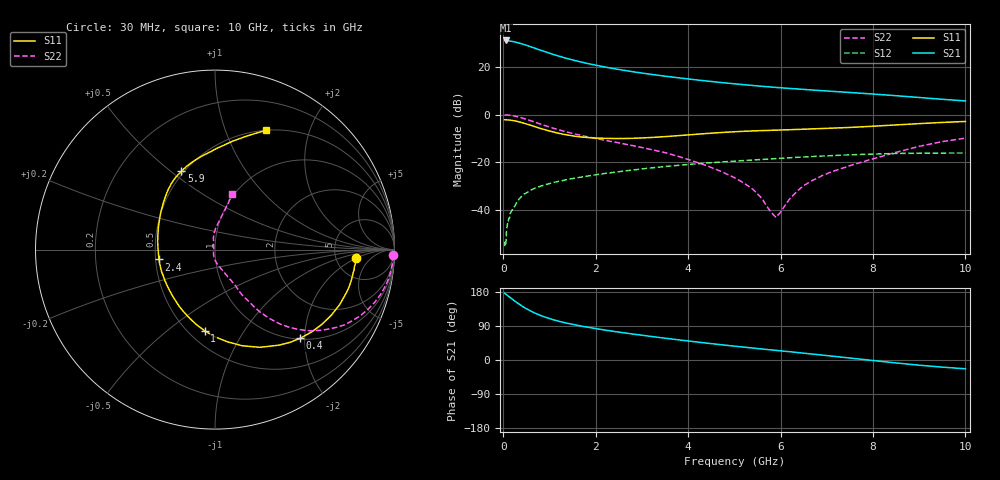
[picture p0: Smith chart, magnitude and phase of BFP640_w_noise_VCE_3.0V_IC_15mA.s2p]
! (c) 2013  Infineon Technologies AG, Munich
! Infineon Technologies  Discrete & RF Semiconductors
! BFP640
! VCE =  3.0 V,  IC =  15 mA
! Common Emitter S-Parameters:  Apr 2013
# GHz  S  MA  R  50
!  f  S11  S21  S12  S22
! GHz  MAG  ANG  MAG  ANG  MAG  ANG  MAG  ANG
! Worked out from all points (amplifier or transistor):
!   99 points, 30 MHz to 10 GHz, reference 50 ohm
!   highest |S21| = 31.3 dB at 50 MHz (marker M1)
!   |S21| within 3 dB of that: start of sweep to 644.9 MHz
!   unconditionally stable (mu >= 1): 3.138 GHz to end of sweep
!   at 350 MHz: K = 0.23, MSG = 32.8 dB, |S12| = -35.4 dB
!   at 3.5 GHz: K = 1.02, MAG = 18.2 dB, |S12| = -21.8 dB
!   at 10 GHz: K = 1.08, MAG = 9.2 dB, |S12| = -16.1 dB
!   lowest NFmin = 0.75 dB at 450 MHz
!   S11 on the Smith chart (normalised r, x): 30 MHz: 7.94, -1.89; 400 MHz: 1.02, -1.90; 1 GHz: 0.60, -0.68; 2.4 GHz: 0.52, -0.06; 5.9 GHz: 0.48, +0.54; 10 GHz: 0.50, +1.40
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0.03  0.7872 -3.3  36.77 176.1  0.0017 88.4  0.9912 -1.8
0.05  0.7854 -5.9  36.91 174.5  0.0018 79.7  0.99 -3.5
0.15  0.7708 -18.0  35.91 164.8  0.0083 83.5  0.9749 -11.1
0.25  0.7437 -29.6  34.3 155.5  0.0119 76.9  0.9381 -18.1
0.3  0.7259 -35.2  33.36 151.1  0.0147 72.9  0.9143 -21.4
0.4  0.6854 -46.1  31.45 142.8  0.0192 70.1  0.8612 -27.4
0.5  0.6413 -56.1  29.27 135.5  0.0224 66.7  0.804 -32.6
0.6  0.5988 -65.4  27.06 128.9  0.0259 63.3  0.7466 -37.0
0.7  0.5568 -74.2  25.04 123.1  0.0287 61.1  0.6937 -40.7
0.8  0.5172 -82.6  23.18 117.9  0.0311 58.6  0.6408 -43.9
1  0.456 -97.2  19.89 109.4  0.0355 55.7  0.5532 -48.7
1.2  0.407 -110.5  17.29 102.3  0.0396 53.1  0.4835 -51.9
1.3  0.3886 -116.5  16.17 99.4  0.0413 52.5  0.4532 -53.1
1.7  0.3396 -138.5  12.86 89.3  0.0488 50.0  0.3654 -56.2
2  0.3233 -153.2  11.12 82.9  0.0544 48.1  0.3171 -58.1
2.4  0.3164 -170.0  9.384 75.4  0.0613 45.9  0.2674 -59.8
3.4  0.3422 156.7  6.716 59.1  0.0792 39.3  0.1679 -64.9
5.1  0.4438 122.6  4.411 35.3  0.1068 26.6  0.0417 -97.9
5.9  0.4745 113.3  3.779 25.5  0.1192 20.6  0.0069 175.5
6.7  0.5052 104.2  3.326 15.5  0.1319 13.9  0.0419 101.1
8.5  0.6118 80.8  2.527 -7.8  0.1528 -3.2  0.1618 81.5
10  0.7238 66.7  1.96 -23.2  0.1569 -14.6  0.3214 73.2
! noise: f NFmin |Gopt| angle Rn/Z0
0.45  0.75  0.16  7  0.02
0.9  0.77  0.15  15  0.02
1.5  0.79  0.12  26  0.04
1.9  0.79  0.09  43  0.04
2.4  0.82  0.13  -116  0.05
3.5  0.95  0.19  -105  0.07
5.5  1.16  0.22  -100  0.12
10  1.69  0.57  -57  0.42
